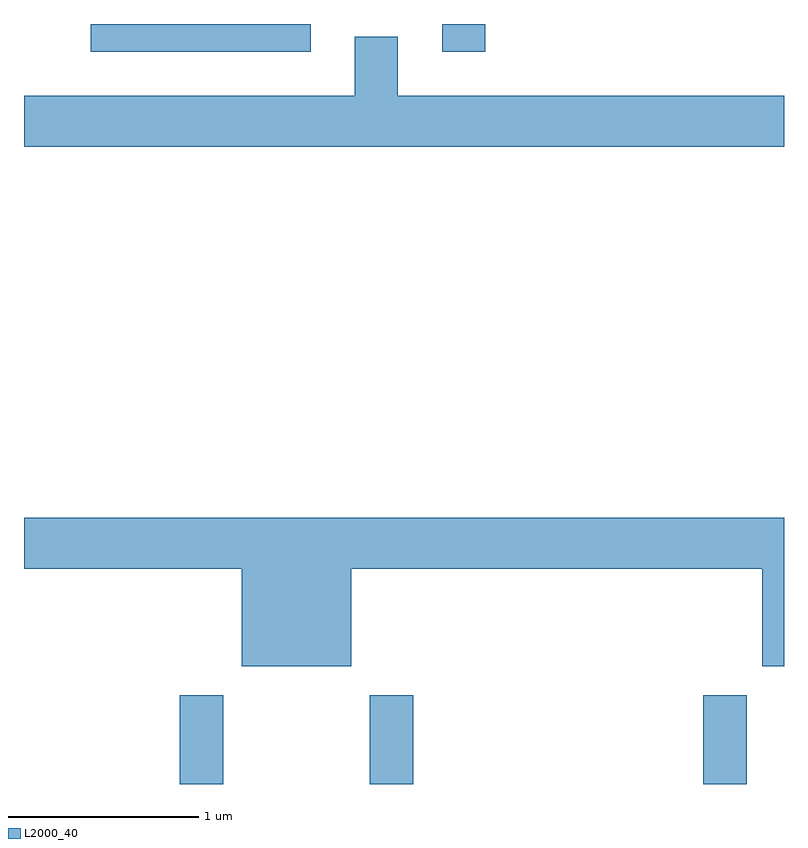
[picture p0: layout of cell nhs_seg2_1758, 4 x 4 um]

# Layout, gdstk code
import gdstk
lib = gdstk.Library(unit=1e-6, precision=1e-09)
def R(c, l, rs):  # rectangles x0, y0, x1, y1
    for r in rs: c.add(gdstk.rectangle(r[:2], r[2:], *l))
def P(c, l, *ps):  # polygons
    for p in ps: c.add(gdstk.Polygon(p, *l))
L2000_40 = (2000, 40)

nhs_seg2_1758 = lib.new_cell('nhs_seg2_1758')
R(nhs_seg2_1758, L2000_40, [(236.431,1093.802,236.659,1094.269), (237.431,1093.802,237.659,1094.269), (239.186,1093.802,239.414,1094.269), (235.963,1097.656,237.119,1097.802), (237.811,1097.656,238.039,1097.802)])
P(nhs_seg2_1758, L2000_40, [(239.611,1097.424),(237.579,1097.424),(237.579,1097.734),(237.351,1097.734),(237.351,1097.424),(235.611,1097.424),(235.611,1097.156),(239.611,1097.156)],
  [(237.334,1094.936),(239.496,1094.936),(239.496,1094.421),(239.611,1094.421),(239.611,1095.204),(235.611,1095.204),(235.611,1094.936),(236.756,1094.936),(236.756,1094.421),(237.334,1094.421)])

lib.write_gds('nhs_seg2_1758.gds')
